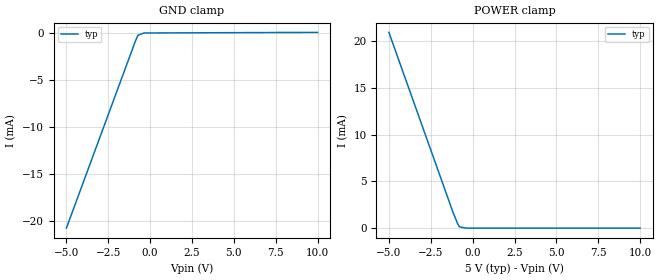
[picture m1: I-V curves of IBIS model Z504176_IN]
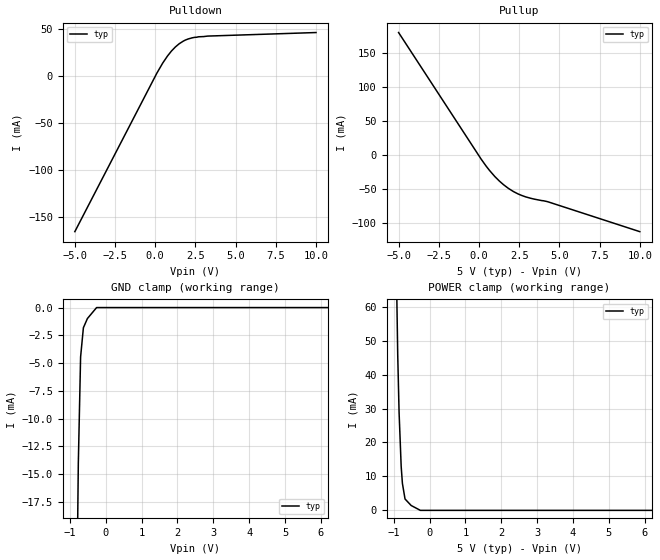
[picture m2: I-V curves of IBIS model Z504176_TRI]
| YOU ARE ONLY AUTHORIZED TO USE THIS SOFTWARE
| ACCORDING TO LICENSOR'S LICENSE RESTRICTIONS.
[IBIS Ver] 3.1
[File Name] mc74hc173d.ibs
[File Rev] 2.0
[Source] Measured and created by ICX Technology
[Date] Friday 7/14/00 9:08:08 AM
[Copyright]
| (C) COPYRIGHT 1993-2000
| MENTOR GRAPHICS CORPORATION
| ICX STANDARD LIBRARY, ICX PROJECT MODELING,
| ICX CUSTOM MODELING, ICX VENDOR MODEL
| ALL RIGHTS RESERVED.
| THE FOLLOWING ARE TRADEMARKS OR SERVICE MARKS OF
| MENTOR GRAPHICS CORPORATION:ICX (R), ICX STANDARD
| LIBRARY(R), ICX PROJECT MODELING(R), ICX CUSTOM
| MODELING(R), qualityIBIS(TM), MODELVIEWER(TM),
| AND MODELEDITOR(TM)
| ALL COPIES OF SOFTWARE, INCLUDING BUT NOT LIMITED TO
| ANY MODIFICATIONS, ENHANCEMENTS OR DERIVATIVE WORKS,
| MUST CONTAIN ALL MENTOR GRAPHICS CORPORATION'S
| NOTICES AND LEGENDS, INCLUDING THOSE EMBEDDED IN
| SOFTWARE AND THOSE AFFIXED TO SOFTWARE MEDIUM
| AND CONTAINER, AS RECEIVED FROM MENTOR GRAPHICS
| CORPORATION.
|  ZAP Model Builder 2.7
[Component] MC74HC173D
[Manufacturer] OnSemiconductor
[Package]
| variable   typ   min   max
R_pkg  .156ohms NA NA
L_pkg  3.148nH NA NA
C_pkg  .388pF NA NA
[Pin] signal_name  model_name  R_pin  L_pin C_pin
1 M Z504176_IN .162 3.798n .418p
2 N Z504176_IN .158 3.358n .398p
3 Q0 Z504176_TRI .154 2.928n .378p
4 Q1 Z504176_TRI .15 2.508n .358p
5 Q2 Z504176_TRI .15 2.508n .358p
6 Q3 Z504176_TRI .154 2.928n .378p
7 CLK Z504176_IN .158 3.358n .398p
8 GROUND GND .162 3.798n .418p
9 _G1 Z504176_IN .162 3.798n .418p
10 _G2 Z504176_IN .158 3.358n .398p
11 D3 Z504176_IN .154 2.928n .378p
12 D2 Z504176_IN .15 2.508n .358p
13 D1 Z504176_IN .15 2.508n .358p
14 D0 Z504176_IN .154 2.928n .378p
15 CLR Z504176_IN .158 3.358n .398p
16 VCC POWER .162 3.798n .418p
| Models and submodels in the file (2): Z504176_IN (Input), Z504176_TRI (3-state)
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| (C) COPYRIGHT 1993-2000
| MENTOR GRAPHICS CORPORATION
| ICX STANDARD LIBRARY, ICX PROJECT MODELING,
| ICX CUSTOM MODELING, ICX VENDOR MODEL
| ALL RIGHTS RESERVED.
| THE FOLLOWING ARE TRADEMARKS OR SERVICE MARKS OF
| MENTOR GRAPHICS CORPORATION:ICX (R), ICX STANDARD
| LIBRARY(R), ICX PROJECT MODELING(R), ICX CUSTOM
| MODELING(R), qualityIBIS(TM), MODELVIEWER(TM),
| AND MODELEDITOR(TM)
| ALL COPIES OF SOFTWARE, INCLUDING BUT NOT LIMITED TO
| ANY MODIFICATIONS, ENHANCEMENTS OR DERIVATIVE WORKS,
| MUST CONTAIN ALL MENTOR GRAPHICS CORPORATION'S
| NOTICES AND LEGENDS, INCLUDING THOSE EMBEDDED IN
| SOFTWARE AND THOSE AFFIXED TO SOFTWARE MEDIUM
| AND CONTAINER, AS RECEIVED FROM MENTOR GRAPHICS
| CORPORATION.
| Model Application Version 1.89 2/18/99.
[Model] Z504176_IN
Model_type Input
Vinl = 1.000V
Vinh = 3.500V
C_comp 4.000pF NA NA
| variable typ   min   max
[Voltage Range] 5.000V NA NA
[GND Clamp Reference] 0.000V NA NA
[POWER Clamp Reference] 5.000V NA NA
[GND Clamp]
-5V       -20.79mA   NA         NA
-878.9mV  -881.9uA   NA         NA
-727.9mV  -268.6uA   NA         NA
-364mV    -25.84uA   NA         NA
10V       39.53uA    NA         NA
[POWER Clamp]
-5V       20.97mA    NA         NA
-1.195V   1.812mA    NA         NA
-906mV    519.9uA    NA         NA
-791mV    140.7uA    NA         NA
-395.5mV  0A         NA         NA
10V       0A         NA         NA
| (C) COPYRIGHT 1993-2000
| MENTOR GRAPHICS CORPORATION
| ICX STANDARD LIBRARY, ICX PROJECT MODELING,
| ICX CUSTOM MODELING, ICX VENDOR MODEL
| ALL RIGHTS RESERVED.
| THE FOLLOWING ARE TRADEMARKS OR SERVICE MARKS OF
| MENTOR GRAPHICS CORPORATION:ICX (R), ICX STANDARD
| LIBRARY(R), ICX PROJECT MODELING(R), ICX CUSTOM
| MODELING(R), qualityIBIS(TM), MODELVIEWER(TM),
| AND MODELEDITOR(TM)
| ALL COPIES OF SOFTWARE, INCLUDING BUT NOT LIMITED TO
| ANY MODIFICATIONS, ENHANCEMENTS OR DERIVATIVE WORKS,
| MUST CONTAIN ALL MENTOR GRAPHICS CORPORATION'S
| NOTICES AND LEGENDS, INCLUDING THOSE EMBEDDED IN
| SOFTWARE AND THOSE AFFIXED TO SOFTWARE MEDIUM
| AND CONTAINER, AS RECEIVED FROM MENTOR GRAPHICS
| CORPORATION.
| Model Application Version 1.89 2/18/99.
[Model] Z504176_TRI
Model_type 3-state
Vref=0.000V
Rref=500.0Mohms
Cref=50.00pF
Vmeas=2.500V
C_comp 8.000pF NA NA
| variable typ   min   max
[Voltage Range] 5.000V NA NA
[POWER Clamp Reference] 5.000V NA NA
[Pullup Reference] 5.000V NA NA
[Pulldown Reference] 0.000V NA NA
[GND Clamp Reference] 0.000V NA NA
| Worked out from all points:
|   slope of the pulldown table from 0 to 0.75 V, typ, clamps not added: 35.3 ohm
|   slope of the pullup table from 0 to 0.75 V, typ, clamps not added: 31.1 ohm
|   GND clamp passes 1 mA (typ) near -0.51 V on its own axis
[GND Clamp]
-5V       -1.128A    NA         NA
-1.001V   -83.1mA    NA         NA
-766.6mV  -14.04mA   NA         NA
-703mV    -4.448mA   NA         NA
-625mV    -1.816mA   NA         NA
-512.7mV  -987uA     NA         NA
-256.4mV  0A         NA         NA
10V       0A         NA         NA
[Pulldown]
-5V       -165.2mA   NA         NA
102.5mV   3.467mA    NA         NA
470.2mV   14.28mA    NA         NA
763mV     21.68mA    NA         NA
1.016V    27.1mA     NA         NA
1.485V    34.65mA    NA         NA
2.041V    39.75mA    NA         NA
2.695V    42.14mA    NA         NA
10V       46.65mA    NA         NA
[Pullup]
-5V       180.8mA    NA         NA
137mV     -5.882mA   NA         NA
655mV     -22.45mA   NA         NA
986mV     -31.48mA   NA         NA
1.533V    -43.61mA   NA         NA
2.143V    -53.61mA   NA         NA
2.91V     -61.51mA   NA         NA
4.298V    -68.77mA   NA         NA
10V       -112.7mA   NA         NA
[POWER Clamp]
-5V       3.617A     NA         NA
-1.025V   138.5mA    NA         NA
-888mV    45.97mA    NA         NA
-850mV    28.91mA    NA         NA
-791mV    12.88mA    NA         NA
-757mV    7.951mA    NA         NA
-684mV    3.353mA    NA         NA
-513mV    1.436mA    NA         NA
-256.5mV  0A         NA         NA
10V       0A         NA         NA
[Ramp]
| variable typ min max
dV/dt_r 2.854/1.666n NA NA
dV/dt_f 2.854/2.325n NA NA
R_load = 500.0Ohms
